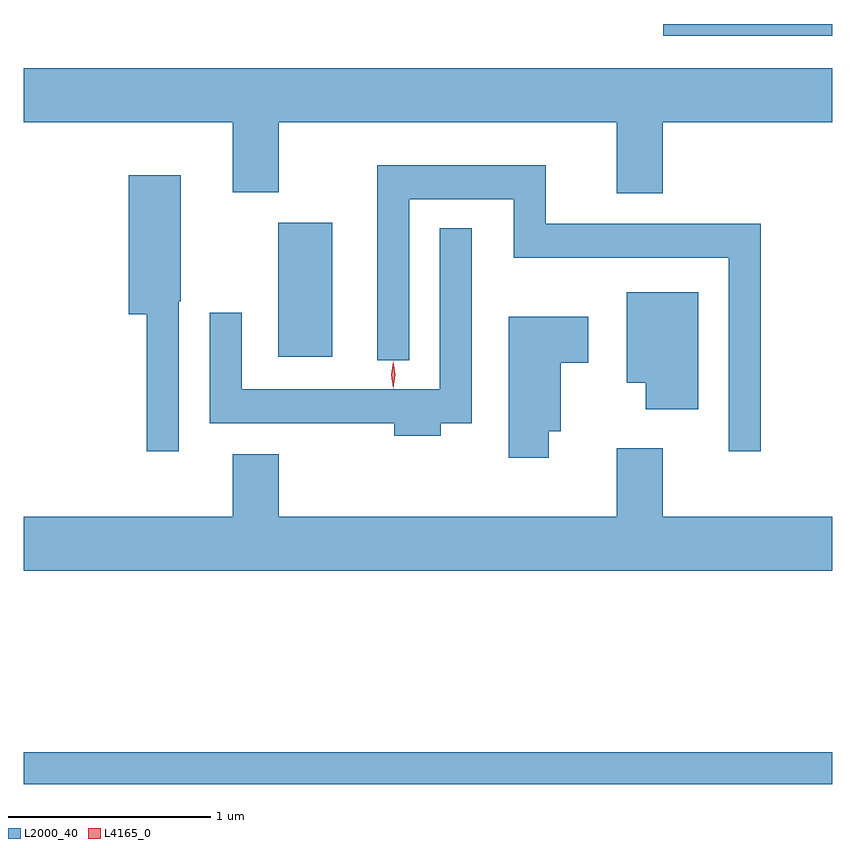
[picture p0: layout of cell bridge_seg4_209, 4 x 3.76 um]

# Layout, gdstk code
import gdstk
lib = gdstk.Library(unit=1e-6, precision=1e-09)
def R(c, l, rs):  # rectangles x0, y0, x1, y1
    for r in rs: c.add(gdstk.rectangle(r[:2], r[2:], *l))
def P(c, l, *ps):  # polygons
    for p in ps: c.add(gdstk.Polygon(p, *l))
L2000_40 = (2000, 40)
L4165_0 = (4165, 0)

bridge_seg4_209 = lib.new_cell('bridge_seg4_209')
R(bridge_seg4_209, L2000_40, [(978.427,1267.041,982.427,1267.199), (979.686,1269.156,979.954,1269.819), (981.591,1270.746,982.427,1270.803)])
P(bridge_seg4_209, L2000_40, [(981.589,1270.316),(982.427,1270.316),(982.427,1270.584),(978.427,1270.584),(978.427,1270.316),(979.461,1270.316),(979.461,1269.971),(979.689,1269.971),(979.689,1270.316),(981.361,1270.316),(981.361,1269.966),(981.589,1269.966)],
  [(982.074,1269.814),(981.009,1269.814),(981.009,1270.104),(980.176,1270.104),(980.176,1269.138),(980.334,1269.138),(980.334,1269.936),(980.851,1269.936),(980.851,1269.646),(981.916,1269.646),(981.916,1268.688),(982.074,1268.688)],
  [(979.194,1269.43),(979.204,1269.43),(979.204,1270.054),(978.946,1270.054),(978.946,1269.366),(979.036,1269.366),(979.036,1268.688),(979.194,1268.688)],
  [(980.489,1268.826),(980.644,1268.826),(980.644,1269.793),(980.486,1269.793),(980.486,1268.994),(979.504,1268.994),(979.504,1269.373),(979.346,1269.373),(979.346,1268.826),(980.261,1268.826),(980.261,1268.766),(980.489,1268.766)],
  [(981.764,1269.474),(981.411,1269.474),(981.411,1269.026),(981.506,1269.026),(981.506,1268.896),(981.764,1268.896)],
  [(981.024,1268.786),(981.084,1268.786),(981.084,1269.126),(981.219,1269.126),(981.219,1269.354),(980.826,1269.354),(980.826,1268.656),(981.024,1268.656)],
  [(982.427,1268.364),(981.589,1268.364),(981.589,1268.704),(981.361,1268.704),(981.361,1268.364),(979.689,1268.364),(979.689,1268.674),(979.461,1268.674),(979.461,1268.364),(978.427,1268.364),(978.427,1268.096),(982.427,1268.096)])
P(bridge_seg4_209, L4165_0, [(980.255,1268.999),(980.254,1269),(980.245,1269.066),(980.254,1269.132),(980.255,1269.133),(980.255,1269.132),(980.265,1269.066),(980.255,1269)])

lib.write_gds('bridge_seg4_209.gds')
